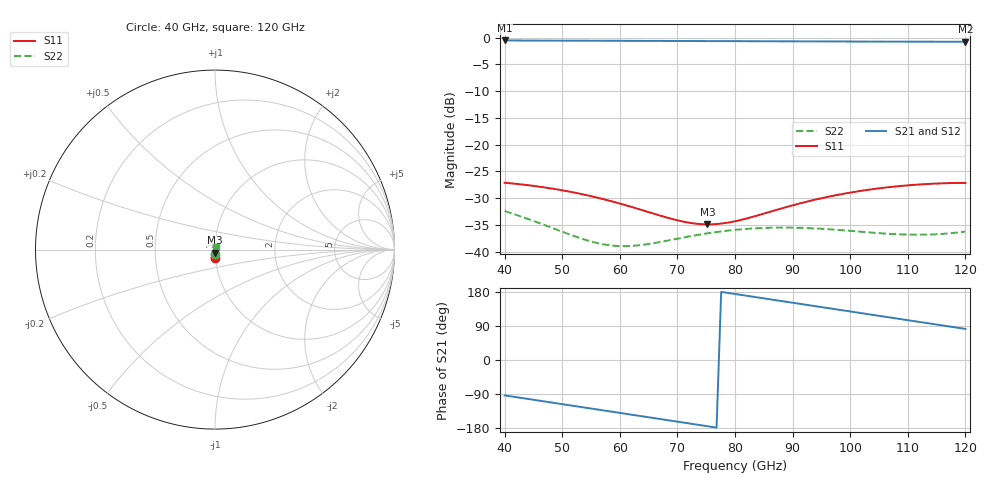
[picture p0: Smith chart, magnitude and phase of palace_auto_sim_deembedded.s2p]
! Created with skrf 1.11.0 (http://scikit-rf.org).
# GHz S DB R 50.0
!freq dBS11 angS11 dBS21 angS21 dBS12 angS12 dBS22 angS22
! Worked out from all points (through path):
!   101 points, 40 GHz to 120 GHz, reference 50 ohm
!   highest |S21| = -0.51 dB at 40 GHz (marker M1); lowest = -0.8 dB at 120 GHz (marker M2)
!   group delay of S21, straight-line fit = 6.41 ps
!   lowest |S11| = -34.9 dB at 75.2 GHz (marker M3), VSWR 1.04, Z = 49.8 - j1.78 ohm
!   |S11| at or under -10 dB: start of sweep to end of sweep
!   |S22| runs from -39.0 to -32.4 dB; largest |S21 - S12| = 1.1e-14
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40  -27.11 -87.6  -0.51 -93.4  -0.51 -93.4  -32.42 -84.6
43.2  -27.46 -93.8  -0.52 -100.8  -0.52 -100.8  -33.56 -89.5
46.4  -27.91 -99.7  -0.53 -108.2  -0.53 -108.2  -34.81 -93.0
49.6  -28.45 -104.9  -0.54 -115.6  -0.54 -115.6  -36.11 -94.6
53.6  -29.29 -110.4  -0.56 -124.8  -0.56 -124.8  -37.65 -93.2
56.8  -30.09 -113.8  -0.57 -132.2  -0.57 -132.2  -38.56 -89.5
60  -31.00 -116.0  -0.58 -139.6  -0.58 -139.6  -38.96 -84.6
63.2  -32.01 -116.4  -0.59 -147.0  -0.59 -147.0  -38.83 -80.6
67.2  -33.32 -113.9  -0.60 -156.2  -0.60 -156.2  -38.16 -78.9
72  -34.58 -105.2  -0.62 -167.3  -0.62 -167.3  -37.16 -82.6
75.2  -34.90 -96.6  -0.63 -174.7  -0.63 -174.7  -36.58 -87.9
80  -34.32 -84.1  -0.64 174.2  -0.64 174.2  -35.93 -98.8
83.2  -33.45 -78.4  -0.65 166.8  -0.65 166.8  -35.66 -107.7
86.4  -32.45 -75.0  -0.66 159.4  -0.66 159.4  -35.52 -117.8
89.6  -31.47 -73.7  -0.67 152.1  -0.67 152.1  -35.51 -128.9
93.6  -30.36 -74.1  -0.69 142.8  -0.69 142.8  -35.64 -144.1
100.8  -28.81 -78.0  -0.71 126.3  -0.71 126.3  -36.18 -175.8
107.2  -27.89 -83.1  -0.73 111.5  -0.73 111.5  -36.69 151.2
110.4  -27.57 -85.9  -0.74 104.2  -0.74 104.2  -36.82 133.2
113.6  -27.34 -88.7  -0.74 96.8  -0.74 96.8  -36.81 114.6
116.8  -27.20 -91.5  -0.75 89.4  -0.75 89.4  -36.61 95.7
120  -27.14 -94.1  -0.75 82.0  -0.75 82.0  -36.25 77.1
